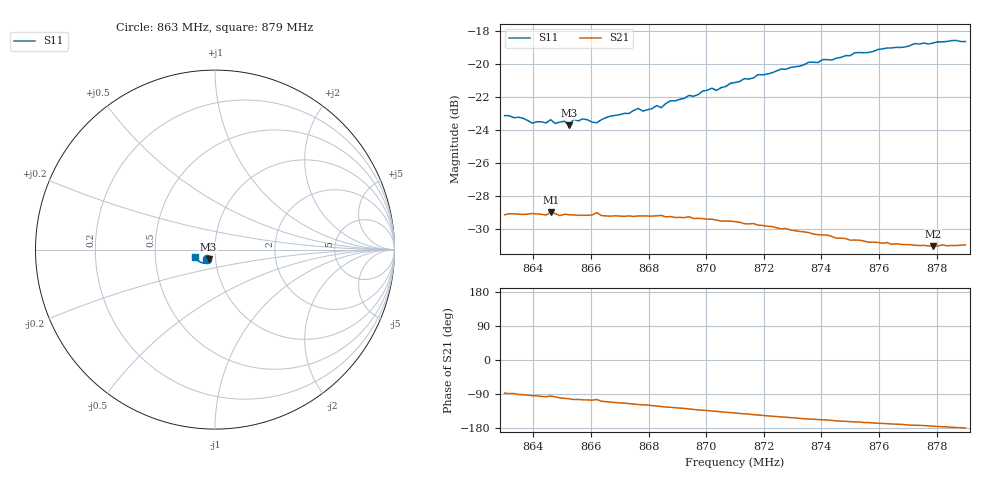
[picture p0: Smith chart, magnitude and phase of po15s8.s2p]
# HZ S RI R 50
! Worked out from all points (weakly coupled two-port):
!   101 points, 863 MHz to 879 MHz, reference 50 ohm
!   highest |S21| = -29.00 dB at 864.6 MHz (marker M1); lowest = -31.1 dB at 877.88 MHz (marker M2)
!   lowest |S11| = -23.7 dB at 865.24 MHz (marker M3), VSWR 1.14, Z = 46.3 - j5.06 ohm
!   |S11| at or under -10 dB: start of sweep to end of sweep
!   S12 and S22 are empty: the file has one direction only
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8.63e8  -0.0435 -0.0543  0.00165 -0.0348  0 0  0 0
8.6396e8  -0.0377 -0.0542  -0.00257 -0.0351  0 0  0 0
8.646e8  -0.0395 -0.0549  -0.00315 -0.0353  0 0  0 0
8.6476e8  -0.0345 -0.0562  -0.00444 -0.0349  0 0  0 0
8.6508e8  -0.0359 -0.0565  -0.00678 -0.0343  0 0  0 0
8.6524e8  -0.0356 -0.0544  -0.00744 -0.0341  0 0  0 0
8.654e8  -0.0373 -0.0566  -0.0086 -0.0338  0 0  0 0
8.6572e8  -0.0351 -0.0583  -0.00912 -0.0335  0 0  0 0
8.662e8  -0.0291 -0.0595  -0.00864 -0.0343  0 0  0 0
8.6652e8  -0.0344 -0.0594  -0.0119 -0.0325  0 0  0 0
8.6764e8  -0.0361 -0.0636  -0.016 -0.0307  0 0  0 0
8.678e8  -0.0345 -0.063  -0.0164 -0.0304  0 0  0 0
8.6828e8  -0.0355 -0.0657  -0.018 -0.0295  0 0  0 0
8.6844e8  -0.0358 -0.0643  -0.0188 -0.0291  0 0  0 0
8.6876e8  -0.0366 -0.0679  -0.0196 -0.0283  0 0  0 0
8.702e8  -0.0442 -0.0718  -0.0238 -0.024  0 0  0 0
8.7036e8  -0.0434 -0.0707  -0.024 -0.0235  0 0  0 0
8.71e8  -0.0473 -0.0739  -0.0254 -0.0215  0 0  0 0
8.7372e8  -0.0678 -0.0749  -0.0279 -0.0123  0 0  0 0
8.7644e8  -0.0923 -0.0628  -0.0278 -0.00549  0 0  0 0
8.7788e8  -0.104 -0.0503  -0.0279 -0.00252  0 0  0 0
8.79e8  -0.11 -0.0388  -0.0282 -0.00032  0 0  0 0
